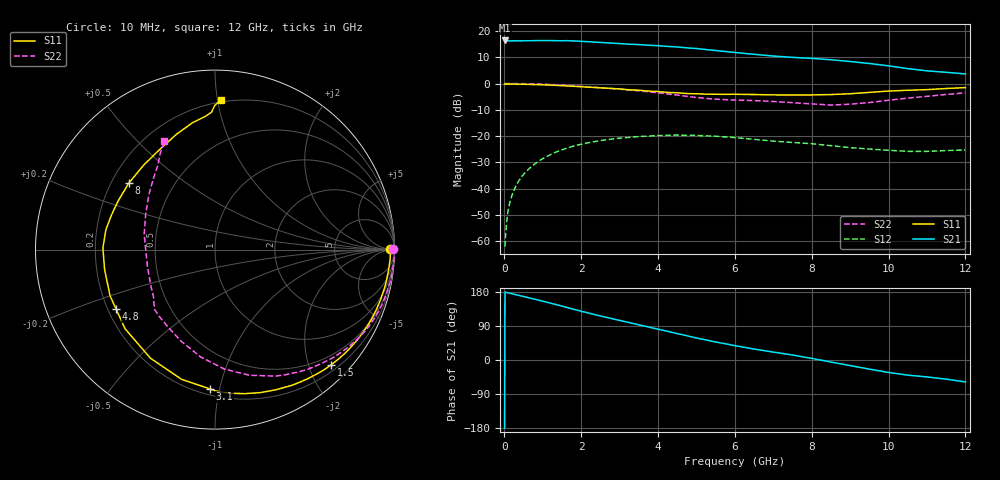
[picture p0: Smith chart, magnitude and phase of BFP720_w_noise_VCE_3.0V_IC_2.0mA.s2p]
! Infineon Technologies  Discrete & RF Semiconductors
! BFP720
! VCE =  3.0 V,  IC =  2.0 mA
! Common Emitter S-Parameters:  Aug 2012
# GHz  S  MA  R  50
!  f  S11  S21  S12  S22
! GHz  MAG  ANG  MAG  ANG  MAG  ANG  MAG  ANG
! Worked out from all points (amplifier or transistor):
!   105 points, 10 MHz to 12 GHz, reference 50 ohm
!   highest |S21| = 16.4 dB at 10 MHz (marker M1)
!   |S21| within 3 dB of that: start of sweep to 4.928 GHz
!   unconditionally stable (mu >= 1): 7.548 GHz to 11.76 GHz
!   at 300 MHz: K = 0.02, MSG = 27.7 dB, |S12| = -39.2 dB
!   at 3.6 GHz: K = 0.31, MSG = 17.4 dB, |S12| = -20.1 dB
!   at 12 GHz: K = 0.86, MSG = 14.5 dB, |S12| = -25.3 dB
!   lowest NFmin = 0.39 dB at 450 MHz
!   S11 on the Smith chart (normalised r, x): 10 MHz: 73, +10; 1.5 GHz: 0.31, -2.39; 3.1 GHz: 0.24, -0.93; 4.8 GHz: 0.23, -0.26; 8 GHz: 0.27, +0.32; 12 GHz: 0.18, +1.02
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0.01  0.9735 0.2  6.603 -179.8  0.0008 -54.9  0.9935 0.3
0.02  0.976 -0.5  6.421 179.1  0.0008 84.9  0.9989 -0.4
0.07  0.9769 -2.0  6.487 177.9  0.0025 91.7  0.9982 -1.5
0.12  0.9766 -3.4  6.488 176.9  0.0045 87.7  0.9987 -2.6
0.35  0.9709 -9.9  6.502 171.3  0.0129 83.4  0.9954 -7.5
1  0.9452 -29.2  6.576 155.3  0.0371 69.6  0.971 -21.8
1.5  0.9116 -44.9  6.512 142.3  0.0547 58.3  0.9332 -33.0
1.8  0.8853 -54.5  6.469 134.0  0.0641 51.3  0.9041 -39.7
2.1  0.8586 -63.6  6.299 126.2  0.0722 44.6  0.8723 -46.1
2.6  0.8201 -78.1  5.998 113.9  0.0838 34.1  0.8218 -56.3
3.1  0.7764 -92.2  5.691 102.3  0.0922 24.3  0.7692 -66.2
3.5  0.7465 -104.4  5.517 92.8  0.0978 16.7  0.7268 -74.5
4.1  0.6915 -124.1  5.184 79.1  0.1025 5.8  0.6531 -87.7
4.8  0.6429 -149.0  4.747 62.9  0.1033 -6.4  0.5643 -104.9
5.5  0.625 -169.8  4.257 47.4  0.0992 -17.7  0.5037 -121.6
6.1  0.622 177.3  3.837 36.2  0.092 -25.3  0.4821 -131.1
7  0.6083 161.6  3.339 20.8  0.08 -32.8  0.4546 -138.4
8  0.6064 142.4  3.013 4.3  0.0714 -38.1  0.4092 -151.0
8.5  0.6162 130.1  2.834 -5.3  0.0655 -40.5  0.3884 -165.6
9.5  0.6774 108.5  2.406 -24.0  0.0565 -39.2  0.4339 152.8
10.5  0.7437 94.2  1.92 -39.9  0.0511 -35.3  0.5279 130.2
12  0.8367 87.7  1.522 -57.8  0.0543 -29.5  0.6654 115.1
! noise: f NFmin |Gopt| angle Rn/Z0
0.45  0.39  0.68  5  0.26
1.8  0.53  0.62  29  0.21
2.4  0.62  0.52  76  0.19
5.5  0.87  0.39  86  0.14
10  1.32  0.47  -108  0.22
